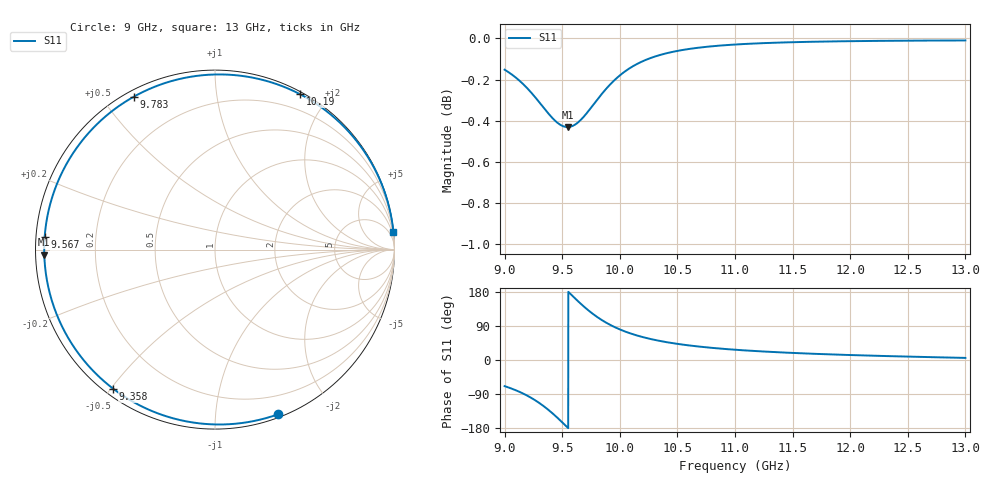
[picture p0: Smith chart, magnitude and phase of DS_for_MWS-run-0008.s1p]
! TOUCHSTONE file generated by CST DESIGN STUDIO
! Date and time: Tue Feb  4 13:56:55 2025
! Project name: C:\Work\MatlabApps\UnitCellOptimizationMatlab\CST\unitcell.cst
! Tree item: Tasks\Sweep1\SPara1\S-Parameters
! Header version: 2024
! Port assignment regex: !\s*Touchstone port\s*([0-9]+)\s*=\s*(CST MWS port|CST DES external port|CST DES block port)\s*(.+)\s* \(\"(.*)\"\)(\s*mode\s*([0-9]+))?.*
! Touchstone port assignment:
! Touchstone port 1 = CST DES external port 1 ("")
# GHz S MA R 50
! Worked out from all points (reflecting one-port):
!   4001 points, 9 GHz to 13 GHz, reference 50 ohm
!   lowest |S11| = -0.4 dB at 9.547 GHz (marker M1), VSWR 40.30, Z = 1.24 - j0.729 ohm
!   phase of S11 starts at -69 deg and turns -285 deg over the sweep
!   S11 on the Smith chart (normalised r, x): 9 GHz: 0.03, -1.46; 9.358 GHz: 0.03, -0.51; 9.567 GHz: 0.02, +0.04; 9.783 GHz: 0.02, +0.60; 10.19 GHz: 0.03, +1.69; 13 GHz: 0, +21
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9  0.9826 -69.0
9.103  0.978 -80.6
9.213  0.9714 -96.8
9.289  0.9658 -110.9
9.358  0.9605 -126.2
9.426  0.9557 -143.5
9.465  0.9536 -154.3
9.5  0.9522 -164.4
9.547  0.9516 -178.3
9.567  0.9517 175.7
9.621  0.9533 159.8
9.682  0.9568 142.7
9.732  0.9605 129.8
9.783  0.9646 117.9
9.83  0.9683 108.1
9.88  0.9721 98.8
9.936  0.9758 89.7
10  0.9795 80.8
10.091  0.9836 70.3
10.19  0.987 61.2
10.332  0.9904 51.2
10.5  0.993 42.5
10.721  0.9951 34.4
11  0.9966 27.1
11.5  0.9979 18.7
12  0.9984 13.1
12.5  0.9987 9.0
13  0.9988 5.5
